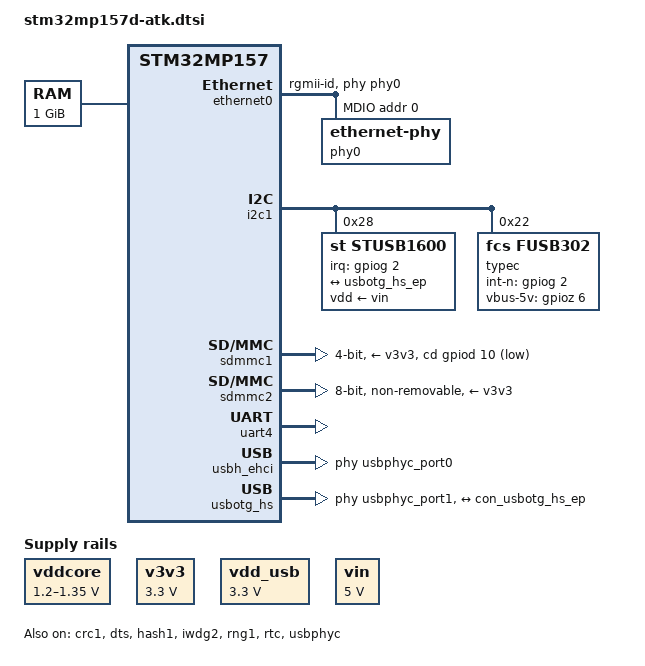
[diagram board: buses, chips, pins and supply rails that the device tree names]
/*
 * Copyright (C) STMicroelectronics 2017 - All Rights Reserved
 * Author: Ludovic Barre <ludovic.barre@st.com> for ST.
 */
 #include "stm32mp157-m4-srm.dtsi"
 #include "stm32mp157-m4-srm-pinctrl.dtsi"
 #include <dt-bindings/gpio/gpio.h>
 #include <dt-bindings/mfd/st,stpmic1.h>
 #include <dt-bindings/usb/pd.h>
 
/ {
    memory@c0000000 {
        device_type = "memory";
        reg = <0xC0000000 0x40000000>;
    };
 
    reserved-memory {
        #address-cells = <1>;
        #size-cells = <1>;
        ranges;
 
        mcuram2: mcuram2@10000000 {
            compatible = "shared-dma-pool";
            reg = <0x10000000 0x40000>;
            no-map;
        };
    
        vdev0vring0: vdev0vring0@10040000 {
            compatible = "shared-dma-pool";
            reg = <0x10040000 0x1000>;
            no-map;
        };
    
        vdev0vring1: vdev0vring1@10041000 {
            compatible = "shared-dma-pool";
            reg = <0x10041000 0x1000>;
            no-map;
        };
    
        vdev0buffer: vdev0buffer@10042000 {
            compatible = "shared-dma-pool";
            reg = <0x10042000 0x4000>;
            no-map;
        };
    
        mcuram: mcuram@30000000 {
            compatible = "shared-dma-pool";
            reg = <0x30000000 0x40000>;
            no-map;
        };
    
        retram: retram@38000000 {
            compatible = "shared-dma-pool";
            reg = <0x38000000 0x10000>;
            no-map;
        };
    };
 
    vddcore: buck1 {
        compatible = "regulator-fixed";
        regulator-name = "vddcore";
        regulator-min-microvolt = <1200000>;
        regulator-max-microvolt = <1350000>;
        regulator-always-on;
        regulator-boot-on;
    };

    /*
     * USB HS PHY 调参节点：这些参数来自正点原子官方板级设备树，
     * 用于匹配开发板 USB 高速差分线的驱动电流、阻抗和接收阈值。
     */
    usb_phy_tuning: usb-phy-tuning {
        st,hs-dc-level = <2>;
        st,fs-rftime-tuning;
        st,hs-rftime-reduction;
        st,hs-current-trim = <15>;
        st,hs-impedance-trim = <1>;
        st,squelch-level = <3>;
        st,hs-rx-offset = <2>;
        st,no-lsfs-sc;
    };
 
    v3v3: regulator-3p3v {
        compatible = "regulator-fixed";
        regulator-name = "v3v3";
        regulator-min-microvolt = <3300000>;
        regulator-max-microvolt = <3300000>;
        regulator-always-on;
        regulator-boot-on;
    };

    /*
     * USB PHY 供电节点：USBPHYC 的两个端口都引用此 3.3V 电源，
     * 保证 Host 口和 OTG 口在内核初始化 PHY 时有明确供电来源。
     */
    vdd_usb: regulator-vdd-usb {
        compatible = "regulator-fixed";
        regulator-name = "vdd_usb";
        regulator-min-microvolt = <3300000>;
        regulator-max-microvolt = <3300000>;
        regulator-always-on;
        regulator-boot-on;
    };

    /*
     * Type-C 控制器供电节点：STUSB1600 使用 5V VIN 作为芯片供电，
     * 这里按官方设备树声明为固定常开电源。
     */
    vin: regulator-vin {
        compatible = "regulator-fixed";
        regulator-name = "vin";
        regulator-min-microvolt = <5000000>;
        regulator-max-microvolt = <5000000>;
        regulator-always-on;
        regulator-boot-on;
    };
};

&pinctrl {
    /*
     * Type-C 中断引脚：PG2 连接 STUSB1600/FUSB302 的中断输出，
     * 配置为 GPIO/模拟复用安全状态并开启上拉，避免空闲时悬空误触发。
     */
    stusb1600_pins_b: stusb1600-0 {
        pins {
            pinmux = <STM32_PINMUX('G', 2, ANALOG)>;
            bias-pull-up;
        };
    };
};
 
    &cpu0{
        cpu-supply = <&vddcore>;
    };
 
    &crc1 {
        status = "okay";
    };
 
    &dma1 {
        sram = <&dma_pool>;
    };
 
    &dma2 {
        sram = <&dma_pool>;
    };
 
    &dts {
        status = "okay";
    };
 
&ethernet0 {
    status = "okay";
    pinctrl-0 = <&ethernet0_rgmii_pins_a>;
    pinctrl-1 = <&ethernet0_rgmii_pins_sleep_a>;
    pinctrl-names = "default", "sleep";
    phy-mode = "rgmii-id";
    max-speed = <1000>;
    phy-handle = <&phy0>;

    mdio0 {
        #address-cells = <1>;
        #size-cells = <0>;
        compatible = "snps,dwmac-mdio";
        phy0: ethernet-phy@0 {
            reg = <0>;
        };
    };
};

    &hash1 {
        status = "okay";
    };

    &ipcc {
        status = "okay";
    };

&i2c1 {
    /*
     * I2C1 连接 USB Type-C 控制器，开启后内核可以读取插拔方向、
     * 供电角色和数据角色，从而驱动 usbotg_hs 在 Host/Device 间切换。
     */
    pinctrl-names = "default", "sleep";
    pinctrl-0 = <&i2c1_pins_b>;
    pinctrl-1 = <&i2c1_pins_sleep_b>;
    i2c-scl-rising-time-ns = <100>;
    i2c-scl-falling-time-ns = <7>;
    status = "okay";
    /delete-property/dmas;
    /delete-property/dma-names;

    /*
     * STUSB1600 Type-C 控制器：负责 USB-C 插拔检测和角色切换，
     * connector 端点和 usbotg_hs 端点互连后，USB OTG 控制器才能感知角色。
     */
    stusb1600@28 {
        compatible = "st,stusb1600";
        reg = <0x28>;
        interrupts = <2 IRQ_TYPE_EDGE_FALLING>;
        interrupt-parent = <&gpiog>;
        pinctrl-names = "default";
        pinctrl-0 = <&stusb1600_pins_b>;
        vdd-supply = <&vin>;
        status = "okay";

        connector {
            compatible = "usb-c-connector";
            label = "USB-C";
            power-role = "dual";
            power-opmode = "default";

            port {
                con_usbotg_hs_ep: endpoint {
                    remote-endpoint = <&usbotg_hs_ep>;
                };
            };
        };
    };

    /*
     * FUSB302 Type-C/PD 控制器：正点原子官方设备树同样启用该节点，
     * 用于需要 USB-C PD 协议协商的硬件版本；若板上未焊接则只会探测失败。
     */
    typec: fusb302@22 {
        compatible = "fcs,fusb302", "fairchild,fusb302";
        reg = <0x22>;
        pinctrl-names = "default";
        pinctrl-0 = <&stusb1600_pins_b>;
        int-n-gpios = <&gpiog 2 GPIO_ACTIVE_HIGH>;
        vbus-5v-gpios = <&gpioz 6 GPIO_ACTIVE_HIGH>;
        status = "okay";

        connector {
            compatible = "usb-c-connector";
            label = "USB-C";
            power-role = "dual";
            power-opmode = "default";
            try-power-role = "sink";
            source-pdos = <PDO_FIXED(5000, 3000, PDO_FIXED_USB_COMM)>;
            sink-pdos = <PDO_FIXED(5000, 3000, PDO_FIXED_USB_COMM)
                         PDO_VAR(3000, 12000, 3000)
                         PDO_PPS_APDO(3000, 11000, 3000)>;
            op-sink-microwatt = <10000000>;
        };
    };
};

    &iwdg2 {
        timeout-sec = <32>;
        status = "okay";
    };

    &rng1 {
        status = "okay";
    };

    &rtc {
        status = "okay";
    };

 &sdmmc1 {
    pinctrl-names = "default", "opendrain", "sleep";
    pinctrl-0 = <&sdmmc1_b4_pins_a &sdmmc1_cd_pins_a>;
    pinctrl-1 = <&sdmmc1_b4_od_pins_a &sdmmc1_cd_pins_a>;
    pinctrl-2 = <&sdmmc1_b4_sleep_pins_a &sdmmc1_cd_sleep_pins_a>;
    /*
     * TF 卡检测脚：原理图 uSD_DETECT 接到 PD10，卡座检测脚通常在插卡后拉低。
     * 使用 cd-gpios 代替 broken-cd 后，内核可以根据实际插拔状态创建或移除 mmcblk0。
     */
    cd-gpios = <&gpiod 10 GPIO_ACTIVE_LOW>;
    cd-debounce-delay-ms = <200>;
    st,neg-edge;
    bus-width = <4>;
    vmmc-supply = <&v3v3>;
    status = "okay";
 };

 &sdmmc2 {
    pinctrl-names = "default", "opendrain", "sleep";
    pinctrl-0 = <&sdmmc2_b4_pins_a>;
    pinctrl-1 = <&sdmmc2_b4_od_pins_a>;
    pinctrl-2 = <&sdmmc2_b4_sleep_pins_a>;
    non-removable;
    st,neg-edge;
    bus-width = <8>;
    vmmc-supply = <&v3v3>;
    keep-power-in-suspend;
    status = "okay";
 };

 &sram {
    dma_pool: dma_pool@0 {
        reg = <0x50000 0x10000>;
        pool;
    };
 };

 &uart4 {
    pinctrl-names = "default", "sleep", "idle";
    pinctrl-0 = <&uart4_pins_a>;
    pinctrl-1 = <&uart4_sleep_pins_a>;
    pinctrl-2 = <&uart4_idle_pins_a>;
    pinctrl-3 = <&uart4_pins_a>;
    /delete-property/dmas;
    /delete-property/dma-names;
    status = "okay";
 };
&usbh_ehci {
    /*
     * USB Host 控制器：连接 USBPHYC port0，UVC USB 摄像头插在普通 Host 口时，
     * 由该控制器完成枚举并创建后续的 video 设备。
     */
    phys = <&usbphyc_port0>;
    status = "okay";
};

&usbotg_hs {
    /*
     * USB OTG 控制器：连接 USBPHYC port1，并通过 Type-C connector 端点感知角色。
     */
    phys = <&usbphyc_port1 0>;
    phy-names = "usb2-phy";
    usb-role-switch;
    status = "okay";

    port {
        usbotg_hs_ep: endpoint {
            remote-endpoint = <&con_usbotg_hs_ep>;
        };
    };
};

&usbphyc {
    status = "okay";
};

&usbphyc_port0 {
    phy-supply = <&vdd_usb>;
    st,phy-tuning = <&usb_phy_tuning>;
};

&usbphyc_port1 {
    phy-supply = <&vdd_usb>;
    st,phy-tuning = <&usb_phy_tuning>;
};
